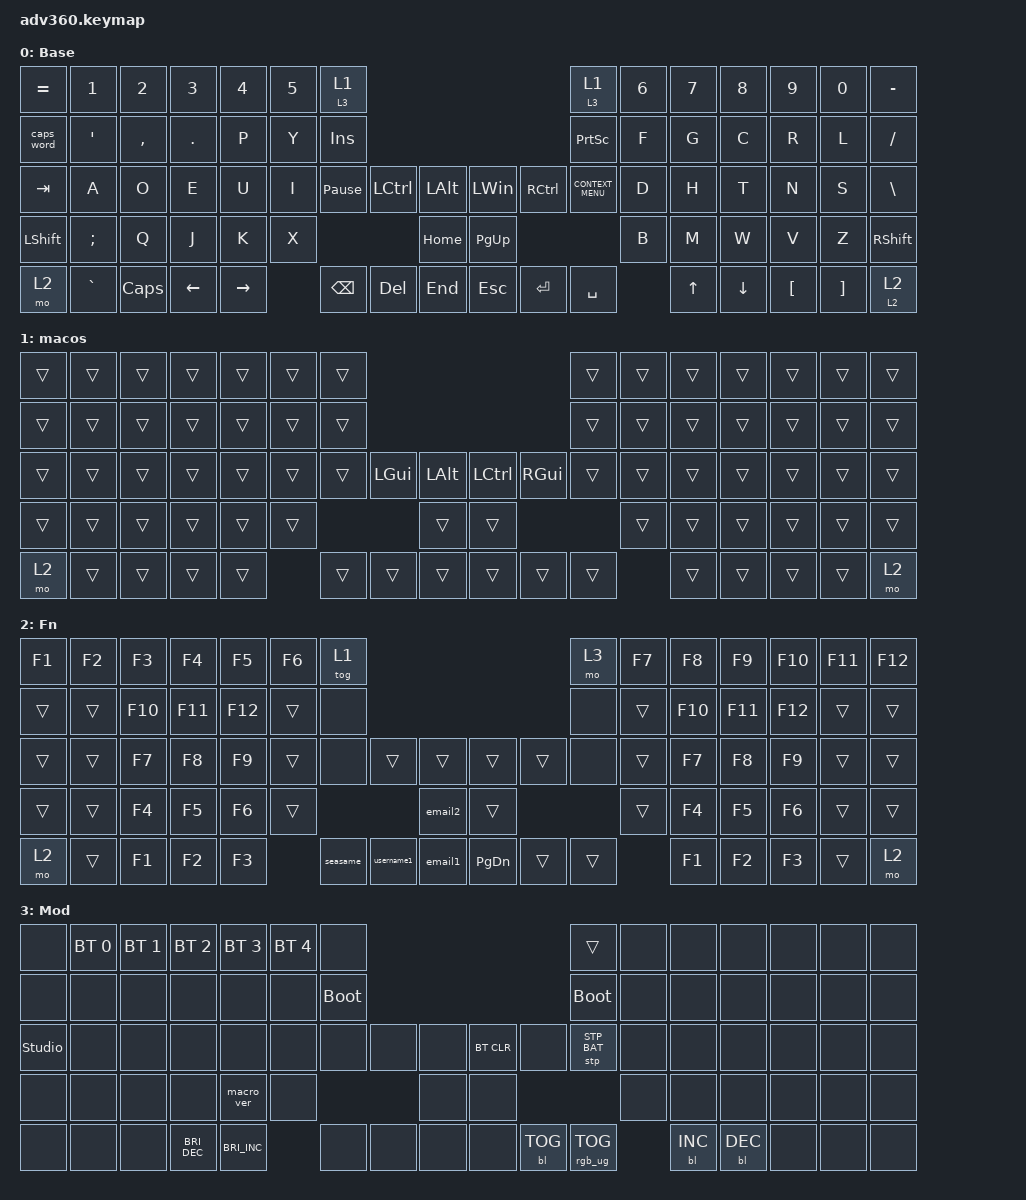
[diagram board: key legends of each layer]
#include <dt-bindings/zmk/stp.h>
#include <behaviors.dtsi>
#include <dt-bindings/zmk/backlight.h>
#include <dt-bindings/zmk/bt.h>
#include <dt-bindings/zmk/keys.h>
#include <dt-bindings/zmk/rgb.h>

/ {
    behaviors {
        #include "macros.dtsi"
      #include "version.dtsi"

        hm: homerow_mods {
            compatible = "zmk,behavior-hold-tap";
            label = "HOMEROW_MODS";
            #binding-cells = <2>;
            tapping-term-ms = <200>;
            quick_tap_ms = <175>;
            flavor = "tap-preferred";
            bindings = <&kp>, <&kp>;
        };

        mo_tog: mo_tog {
            compatible = "zmk,behavior-hold-tap";
            label = "MO_TOG";
            bindings = <&mo>, <&tog>;

            #binding-cells = <2>;
            tapping-term-ms = <200>;
        };
    };

    macros {
        seasame: seasame {
            compatible = "zmk,behavior-macro";
            #binding-cells = <0>;
            bindings = <&none &kp LS(S) &kp E &kp A &kp S &kp A &kp M &kp E>;
            label = "SEASAME";
        };

        email1: email1 {
            compatible = "zmk,behavior-macro";
            #binding-cells = <0>;
            bindings = <&none &kp E &kp M &kp A &kp I &kp L &kp AT &kp G &kp M &kp A &kp I &kp L &kp DOT &kp C &kp O &kp M>;
            label = "EMAIL1";
        };

        email2: email2 {
            compatible = "zmk,behavior-macro";
            #binding-cells = <0>;
            bindings = <&none &kp E &kp M &kp A &kp I &kp L &kp AT &kp G &kp M &kp A &kp I &kp L &kp DOT &kp C &kp O &kp M>;
            label = "EMAIL2";
        };

        username1: username1 {
            compatible = "zmk,behavior-macro";
            #binding-cells = <0>;
            bindings = <&none &kp K &kp H &kp A &kp R &kp O &kp U &kp T &kp I &kp N &kp I &kp A &kp N>;
            label = "USERNAME1";
        };
    };

    keymap {
        compatible = "zmk,keymap";

        default_layer {
            display-name = "Base";
            bindings = <
&kp EQUAL   &kp N1     &kp N2     &kp N3    &kp N4     &kp N5  &mo_tog 3 1                                                        &mo_tog 3 1         &kp N6  &kp N7  &kp N8    &kp N9    &kp N0    &kp MINUS
&caps_word  &kp SQT    &kp COMMA  &kp DOT   &kp P      &kp Y   &kp INSERT                                                         &kp PRINTSCREEN     &kp F   &kp G   &kp C     &kp R     &kp L     &kp FSLH
&kp TAB     &kp A      &kp O      &kp E     &kp U      &kp I   &kp PAUSE_BREAK  &kp LCTRL  &kp LALT      &kp LEFT_WIN  &kp RCTRL  &kp K_CONTEXT_MENU  &kp D   &kp H   &kp T     &kp N     &kp S     &kp BSLH
&kp LSHFT   &kp SEMI   &kp Q      &kp J     &kp K      &kp X                               &kp HOME      &kp PG_UP                                    &kp B   &kp M   &kp W     &kp V     &kp Z     &kp RSHFT
&mo 2       &kp GRAVE  &kp CAPS   &kp LEFT  &kp RIGHT          &kp BSPC         &kp DEL    &kp END       &kp ESC       &kp ENTER  &kp SPACE                   &kp UP  &kp DOWN  &kp LBKT  &kp RBKT  &mo_tog 2 2
            >;
        };

        macOS {
            display-name = "macos";
            bindings = <
&trans  &trans  &trans  &trans  &trans  &trans  &trans                                               &trans  &trans  &trans  &trans  &trans  &trans  &trans
&trans  &trans  &trans  &trans  &trans  &trans  &trans                                               &trans  &trans  &trans  &trans  &trans  &trans  &trans
&trans  &trans  &trans  &trans  &trans  &trans  &trans  &kp LGUI  &kp LALT      &kp LCTRL  &kp RGUI  &trans  &trans  &trans  &trans  &trans  &trans  &trans
&trans  &trans  &trans  &trans  &trans  &trans                    &trans        &trans                       &trans  &trans  &trans  &trans  &trans  &trans
&mo 2   &trans  &trans  &trans  &trans          &trans  &trans    &trans        &trans     &trans    &trans          &trans  &trans  &trans  &trans  &mo 2
            >;
        };

        fn {
            display-name = "Fn";
            bindings = <
&kp F1  &kp F2  &kp F3   &kp F4   &kp F5   &kp F6  &tog 1                                                &mo 3   &kp F7  &kp F8   &kp F9   &kp F10  &kp F11  &kp F12
&trans  &trans  &kp F10  &kp F11  &kp F12  &trans  &none                                                 &none   &trans  &kp F10  &kp F11  &kp F12  &trans   &trans
&trans  &trans  &kp F7   &kp F8   &kp F9   &trans  &none     &trans      &trans       &trans     &trans  &none   &trans  &kp F7   &kp F8   &kp F9   &trans   &trans
&trans  &trans  &kp F4   &kp F5   &kp F6   &trans                        &email2      &trans                     &trans  &kp F4   &kp F5   &kp F6   &trans   &trans
&mo 2   &trans  &kp F1   &kp F2   &kp F3           &seasame  &username1  &email1      &kp PG_DN  &trans  &trans          &kp F1   &kp F2   &kp F3   &trans   &mo 2
            >;
        };

        mod {
            display-name = "Mod";
            bindings = <
&none           &bt BT_SEL 0  &bt BT_SEL 1  &bt BT_SEL 2          &bt BT_SEL 3          &bt BT_SEL 4  &none                                                  &trans           &none  &none       &none       &none  &none  &none
&none           &none         &none         &none                 &none                 &none         &bootloader                                            &bootloader      &none  &none       &none       &none  &none  &none
&studio_unlock  &none         &none         &none                 &none                 &none         &none        &none  &none      &bt BT_CLR  &none       &stp STP_BAT     &none  &none       &none       &none  &none  &none
&none           &none         &none         &none                 &macro_ver            &none                             &none      &none                                    &none  &none       &none       &none  &none  &none
&none           &none         &none         &kp C_BRIGHTNESS_DEC  &kp C_BRIGHTNESS_INC                &none        &none  &none      &none       &bl BL_TOG  &rgb_ug RGB_TOG         &bl BL_INC  &bl BL_DEC  &none  &none  &none
            >;
        };

        extra1 {
            display-name = "Red";
            status = "reserved";
        };

        extra2 {
            display-name = "Purple";
            status = "reserved";
        };

        extra3 {
            display-name = "Cyan";
            status = "reserved";
        };

        extra4 {
            display-name = "Yellow";
            status = "reserved";
        };
    };
};
